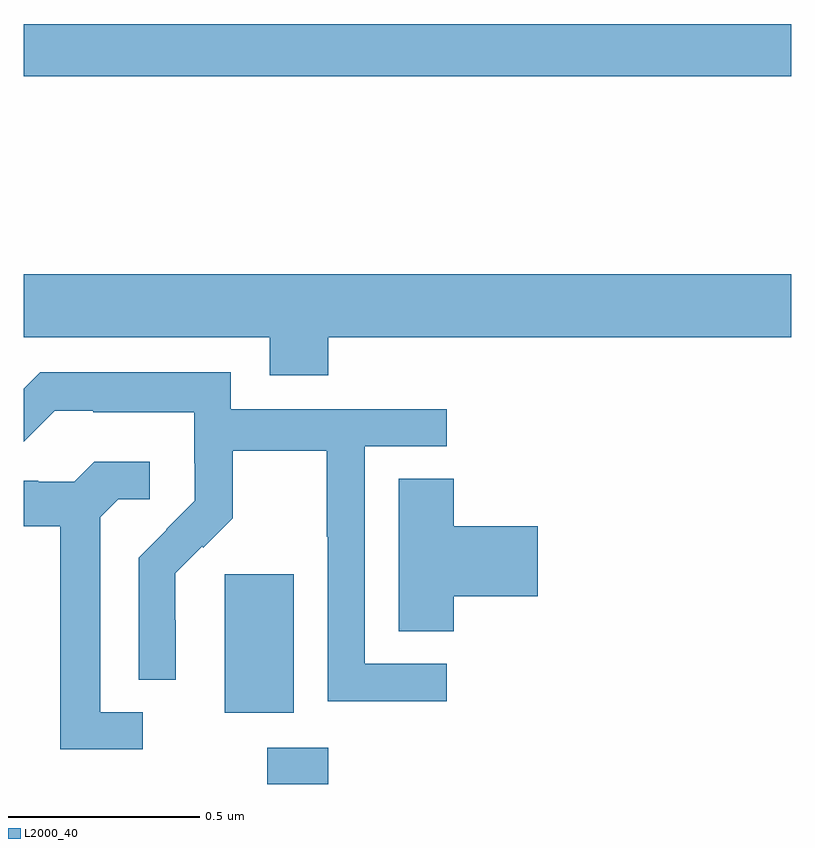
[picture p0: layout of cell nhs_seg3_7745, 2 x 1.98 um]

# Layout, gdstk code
import gdstk
lib = gdstk.Library(unit=1e-6, precision=1e-09)
def R(c, l, rs):  # rectangles x0, y0, x1, y1
    for r in rs: c.add(gdstk.rectangle(r[:2], r[2:], *l))
def P(c, l, *ps):  # polygons
    for p in ps: c.add(gdstk.Polygon(p, *l))
L2000_40 = (2000, 40)

nhs_seg3_7745 = lib.new_cell('nhs_seg3_7745')
R(nhs_seg3_7745, L2000_40, [(207.634,718.4,207.794,718.495), (207.524,718.586,207.703,718.947), (207,720.244,209,720.38)])
P(nhs_seg3_7745, L2000_40, [(207.794,719.564),(209,719.564),(209,719.728),(207,719.728),(207,719.564),(207.641,719.564),(207.641,719.465),(207.794,719.465)],
  [(208.102,718.713),(207.888,718.713),(207.888,719.28),(208.102,719.28),(208.102,719.376),(207.54,719.376),(207.54,719.473),(207.043,719.473),(207,719.43),(207,719.292),(207.081,719.373),(207.181,719.373),(207.181,719.369),(207.444,719.369),(207.444,719.235),(207.446,719.235),(207.446,719.138),(207.372,719.064),(207.373,719.063),(207.3,718.99),(207.3,718.672),(207.396,718.672),(207.396,718.826),(207.395,718.826),(207.395,718.949),(207.465,719.019),(207.468,719.016),(207.545,719.093),(207.545,719.268),(207.79,719.268),(207.79,719.044),(207.792,719.044),(207.792,718.615),(208.102,718.615)],
  [(207.31,718.587),(207.199,718.587),(207.199,719.095),(207.246,719.142),(207.328,719.142),(207.328,719.239),(207.184,719.239),(207.132,719.187),(207.038,719.187),(207.038,719.19),(207,719.19),(207,719.072),(207.095,719.072),(207.095,718.491),(207.31,718.491)],
  [(208.121,718.889),(208.339,718.889),(208.339,719.072),(208.121,719.072),(208.121,719.195),(207.977,719.195),(207.977,718.798),(208.121,718.798)])

lib.write_gds('nhs_seg3_7745.gds')
